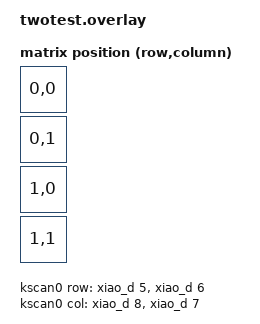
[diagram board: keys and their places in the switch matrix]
#include <dt-bindings/zmk/matrix_transform.h>

/ {
    kscan0: kscan0 {
        compatible = "zmk,kscan-gpio-matrix";
        diode-direction = "col2row";
        wakeup-source;

        col-gpios
            = <&xiao_d 8 GPIO_ACTIVE_HIGH>
            , <&xiao_d 7 GPIO_ACTIVE_HIGH>
            ;

        row-gpios
            = <&xiao_d 5 (GPIO_ACTIVE_HIGH | GPIO_PULL_DOWN)>
            , <&xiao_d 6 (GPIO_ACTIVE_HIGH | GPIO_PULL_DOWN)>
            ;
    };
};

/ {
    default_transform: keymap_transform0 {
        compatible = "zmk,matrix-transform";
        columns = <2>; // Length of the "col-gpios" array
        rows = <2>; // Length of the "row-gpios" array
        map = <
        //   Key 1
            RC(0,0)
        //   Key 2
            RC(0,1)
        //   Key 3
            RC(1,0)
        //   Key 4
            RC(1,1)
        >;
    };
};

/ {
    physical_layout0: physical_layout_0 { // First physical layout, use different naming for other layouts
        compatible = "zmk,physical-layout";
        display-name = "Default Layout";
        kscan = <&kscan0>; // Label of the kscan node, optional if all layouts use the same
        transform = <&default_transform>; // Label of the matrix transform for this layout
    };
};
